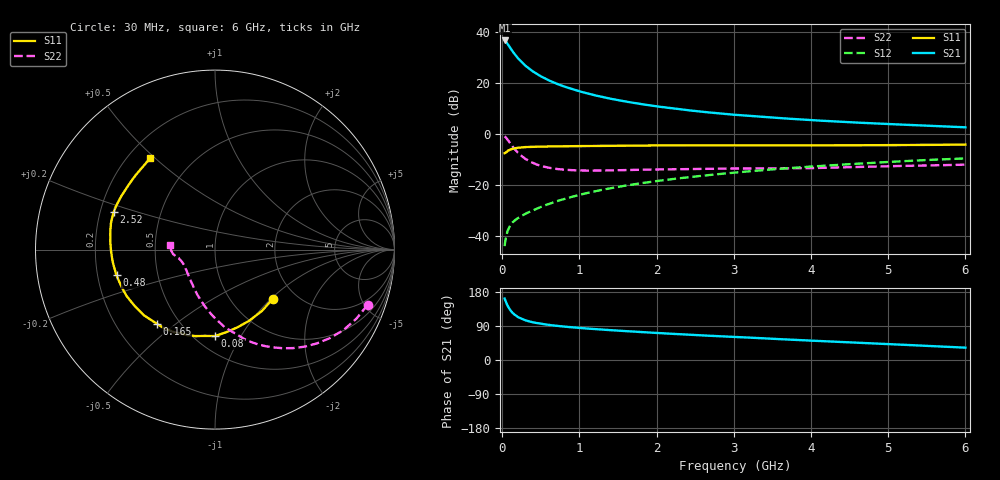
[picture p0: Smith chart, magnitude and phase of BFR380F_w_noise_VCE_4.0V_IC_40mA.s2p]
! Infineon Technologies  Discrete & RF Semiconductors
! BFR380F
! VCE =  4.0 V,  IC =  40 mA
! Common Emitter S-Parameters:  Nov 2015
# GHz  S  MA  R  50
!  f  S11  S21  S12  S22
! GHz  MAG  ANG  MAG  ANG  MAG  ANG  MAG  ANG
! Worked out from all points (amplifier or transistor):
!   206 points, 30 MHz to 6 GHz, reference 50 ohm
!   highest |S21| = 36.6 dB at 30 MHz (marker M1)
!   |S21| within 3 dB of that: start of sweep to 104.9 MHz
!   unconditionally stable (mu >= 1): 991.6 MHz to 4.911 GHz
!   at 200 MHz: K = 0.56, MSG = 31.4 dB, |S12| = -33.0 dB
!   at 1.56 GHz: K = 1.03, MAG = 15.6 dB, |S12| = -20.4 dB
!   at 6 GHz: K = 0.99, MSG = 6.1 dB, |S12| = -9.5 dB
!   lowest NFmin = 1.37 dB at 900 MHz
!   S11 on the Smith chart (normalised r, x): 30 MHz: 1.53, -1.02; 80 MHz: 0.62, -0.78; 165 MHz: 0.38, -0.43; 480 MHz: 0.28, -0.12; 2.52 GHz: 0.26, +0.17; 6 GHz: 0.29, +0.48
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0.03  0.4223 -40.6  67.78 162.1  0.0064 77.6  0.9042 -19.9
0.05  0.44 -64.4  63.25 151.4  0.0099 71.9  0.8445 -32.1
0.07  0.465 -82.6  57.45 142.7  0.0129 66.1  0.772 -42.6
0.08  0.4818 -90.0  54.67 139.2  0.014 63.5  0.736 -47.3
0.1  0.4938 -102.6  49.19 132.6  0.0161 59.9  0.6667 -55.5
0.12  0.5053 -112.6  44.38 127.3  0.0178 57.7  0.6054 -62.6
0.15  0.5229 -124.1  38.36 121.0  0.0198 55.8  0.5289 -71.4
0.165  0.5248 -128.1  36.02 119.1  0.0206 55.5  0.4989 -74.4
0.2  0.5393 -137.3  30.75 113.5  0.0225 54.9  0.4353 -82.9
0.26  0.549 -147.1  24.79 107.8  0.0255 55.9  0.362 -93.1
0.3  0.5559 -152.2  21.73 104.6  0.0275 56.9  0.3263 -99.2
0.4  0.5621 -160.8  16.65 99.2  0.0324 59.7  0.2705 -111.2
0.48  0.5669 -165.4  14.04 96.2  0.0365 61.7  0.2438 -118.7
0.7  0.5744 -173.8  9.715 90.2  0.0482 65.8  0.2079 -134.6
1.04  0.5816 178.3  6.597 84.0  0.0669 68.8  0.1935 -148.9
1.4  0.5887 172.4  4.917 78.8  0.0869 69.9  0.1946 -157.7
2.02  0.5989 164.7  3.451 71.2  0.1214 69.6  0.2028 -164.1
2.52  0.6018 159.5  2.8 65.7  0.1489 68.5  0.2083 -167.1
3.1  0.6013 154.1  2.328 60.0  0.1811 66.6  0.2118 -168.5
4.1  0.6011 144.3  1.837 50.2  0.2363 62.3  0.2172 -169.4
5.1  0.6074 135.2  1.547 41.0  0.2893 57.6  0.2364 -174.8
6  0.624 125.5  1.355 32.6  0.3335 52.3  0.2521 174.8
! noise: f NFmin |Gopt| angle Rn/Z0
0.45  1.41  0.36  -176  0.08
0.9  1.37  0.39  -176  0.07
1.8  1.57  0.44  -164  0.08
1.9  1.66  0.45  -165  0.08
2.4  1.71  0.46  -156  0.11
3.5  2.31  0.51  -144  0.17
